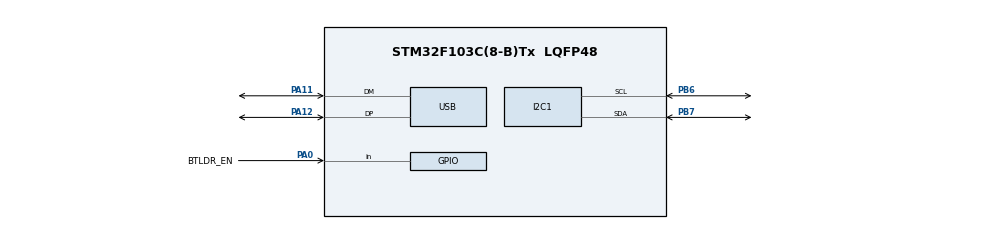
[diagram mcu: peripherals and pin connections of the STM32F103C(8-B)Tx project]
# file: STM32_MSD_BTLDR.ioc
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Mcu.Family=STM32F1
Mcu.Name=STM32F103C(8-B)Tx
Mcu.Package=LQFP48
NVIC.PriorityGroup=NVIC_PRIORITYGROUP_4
NVIC.USB_LP_CAN1_RX0_IRQn=true\:0\:0\:false\:false\:true\:false\:true
PA0-WKUP.GPIO_Label=BTLDR_EN
PA0-WKUP.GPIO_PuPd=GPIO_PULLUP
PA0-WKUP.Signal=GPIO_Input
PA11.Mode=Device
PA11.Signal=USB_DM
PA12.Mode=Device
PA12.Signal=USB_DP
PA13.Mode=Serial_Wire
PA13.Signal=SYS_JTMS-SWDIO
PA14.Mode=Serial_Wire
PA14.Signal=SYS_JTCK-SWCLK
PB6.Mode=I2C
PB6.Signal=I2C1_SCL
PB7.Mode=I2C
PB7.Signal=I2C1_SDA
ProjectManager.HeapSize=0x200
ProjectManager.StackSize=0x400
ProjectManager.TargetToolchain=MDK-ARM V5
RCC.AHBFreq_Value=48000000
RCC.APB1CLKDivider=RCC_HCLK_DIV2
RCC.APB1Freq_Value=24000000
RCC.APB1TimFreq_Value=48000000
RCC.APB2Freq_Value=48000000
RCC.APB2TimFreq_Value=48000000
RCC.HCLKFreq_Value=48000000
RCC.PLLMUL=RCC_PLL_MUL12
RCC.PLLSource=RCC_PLLSOURCE_HSI_DIV2
RCC.PLLSourceVirtual=RCC_PLLSOURCE_HSI_DIV2
RCC.SYSCLKFreq_VALUE=48000000
RCC.SYSCLKSource=RCC_SYSCLKSOURCE_PLLCLK
RCC.USBFreq_Value=48000000
USB_DEVICE.CLASS_NAME_FS=MSC
USB_DEVICE.VirtualMode=Msc
USB_DEVICE.VirtualModeFS=Msc_FS
VP_USB_DEVICE_VS_USB_DEVICE_MSC_FS.Mode=MSC_FS
board=custom

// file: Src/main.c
/* USER CODE BEGIN Header */
/**
  ******************************************************************************
  * @file           : main.c
  * @brief          : Main program body
  ******************************************************************************
  * @attention
  *
  * <h2><center>&copy; Copyright (c) 2020 STMicroelectronics.
  * All rights reserved.</center></h2>
  *
  * This software component is licensed by ST under Ultimate Liberty license
  * SLA0044, the "License"; You may not use this file except in compliance with
  * the License. You may obtain a copy of the License at:
  *                             www.st.com/SLA0044
  *
  ******************************************************************************
  */
/* USER CODE END Header */
#include "main.h"
#include "usb_device.h"

/* USER CODE BEGIN Includes */
#include <stdint.h>
#include <stdbool.h>
#include "btldr_config.h"
#include "crypt.h"
#include "ihex_parser.h"
#include "ssd1306.h"
/* USER CODE END Includes */

/* USER CODE BEGIN PM */
I2C_HandleTypeDef hi2c1;

/* USER CODE END PM */

I2C_HandleTypeDef hi2c1;

void SystemClock_Config(void);
static void MX_GPIO_Init(void);
static void MX_I2C1_Init(void);

/* USER CODE BEGIN 0 */
bool is_appcode_exist()
{
  uint32_t *mem = (uint32_t*)APP_ADDR;

  if ((mem[0] == 0x00000000 || mem[0] == 0xFFFFFFFF) && \
      (mem[1] == 0x00000000 || mem[1] == 0xFFFFFFFF) && \
      (mem[2] == 0x00000000 || mem[2] == 0xFFFFFFFF) && \
      (mem[3] == 0x00000000 || mem[3] == 0xFFFFFFFF))
  {
    return false;
  }
  else
  {
    return true;
  }
}

void jmp_to_appcode()
{
  /* Function pointer to the address of the user application. */
  uint32_t jump_addr = *((__IO uint32_t*)(APP_ADDR+4u));
  HAL_DeInit();
  /* Change the main stack pointer. */
  __set_MSP(*(__IO uint32_t*)APP_ADDR);
  SCB->VTOR = APP_ADDR;

  ((void (*) (void)) (jump_addr)) ();
}

bool is_button_down()
{
    return (!LL_GPIO_IsInputPinSet(BTLDR_EN_GPIO_Port, BTLDR_EN_Pin) );
}

extern PCD_HandleTypeDef hpcd_USB_FS;

void SystemReset(){
    LL_mDelay(500);
    HAL_PCD_Stop(&hpcd_USB_FS);
    LL_mDelay(1000);
    NVIC_SystemReset();
}

/* USER CODE END 0 */

int main(void)
{

  /* MCU Configuration--------------------------------------------------------*/

  /* Reset of all peripherals, Initializes the Flash interface and the Systick. */
  HAL_Init();

  /* Configure the system clock */
  SystemClock_Config();

  /* Initialize all configured peripherals */
  MX_GPIO_Init();
  MX_USB_DEVICE_Init();
  MX_I2C1_Init();
  /* USER CODE BEGIN 2 */
  SSD1306_Init();  // initialise

  /// lets print some string

    SSD1306_GotoXY (0,0);
    SSD1306_Puts ("HELLO", &Font_11x18, 1);
    SSD1306_GotoXY (10, 30);
    SSD1306_Puts ("  ZIN :)", &Font_11x18, 1);
    SSD1306_UpdateScreen(); //display

//  if(!is_appcode_exist() || is_button_down())
if(0)
  {
#if(CONFIG_SUPPORT_CRYPT_MODE > 0u)
    crypt_init();
#endif
    MX_USB_DEVICE_Init();
    while(1)
    {
#if (CONFIG_SOFT_RESET_AFTER_IHEX_EOF > 0u)
      if(ihex_is_eof()) {
         SystemReset();
      }
#endif
    }
  }
  else
  {
    jmp_to_appcode();
  }

  /* USER CODE END 2 */

  /* Infinite loop */
  while (1)
  {

  }
}

void SystemClock_Config(void)
{
  LL_FLASH_SetLatency(LL_FLASH_LATENCY_1);
  while(LL_FLASH_GetLatency()!= LL_FLASH_LATENCY_1)
  {
  }
  LL_RCC_HSI_SetCalibTrimming(16);
  LL_RCC_HSI_Enable();

   /* Wait till HSI is ready */
  while(LL_RCC_HSI_IsReady() != 1)
  {

  }
  LL_RCC_PLL_ConfigDomain_SYS(LL_RCC_PLLSOURCE_HSI_DIV_2, LL_RCC_PLL_MUL_12);
  LL_RCC_PLL_Enable();

   /* Wait till PLL is ready */
  while(LL_RCC_PLL_IsReady() != 1)
  {

  }
  LL_RCC_SetAHBPrescaler(LL_RCC_SYSCLK_DIV_1);
  LL_RCC_SetAPB1Prescaler(LL_RCC_APB1_DIV_2);
  LL_RCC_SetAPB2Prescaler(LL_RCC_APB2_DIV_1);
  LL_RCC_SetSysClkSource(LL_RCC_SYS_CLKSOURCE_PLL);

   /* Wait till System clock is ready */
  while(LL_RCC_GetSysClkSource() != LL_RCC_SYS_CLKSOURCE_STATUS_PLL)
  {

  }
  LL_SetSystemCoreClock(48000000);

   /* Update the time base */
  if (HAL_InitTick (TICK_INT_PRIORITY) != HAL_OK)
  {
    Error_Handler();
  }
  LL_RCC_SetUSBClockSource(LL_RCC_USB_CLKSOURCE_PLL);
}

static void MX_I2C1_Init(void)
{

  hi2c1.Instance = I2C1;
  hi2c1.Init.ClockSpeed = 400000;
  hi2c1.Init.DutyCycle = I2C_DUTYCYCLE_2;
  hi2c1.Init.OwnAddress1 = 0;
  hi2c1.Init.AddressingMode = I2C_ADDRESSINGMODE_7BIT;
  hi2c1.Init.DualAddressMode = I2C_DUALADDRESS_DISABLE;
  hi2c1.Init.OwnAddress2 = 0;
  hi2c1.Init.GeneralCallMode = I2C_GENERALCALL_DISABLE;
  hi2c1.Init.NoStretchMode = I2C_NOSTRETCH_DISABLE;
  if (HAL_I2C_Init(&hi2c1) != HAL_OK)
  {
    Error_Handler();
  }

}

static void MX_GPIO_Init(void)
{
  LL_GPIO_InitTypeDef GPIO_InitStruct = {0};

  /* GPIO Ports Clock Enable */
  LL_APB2_GRP1_EnableClock(LL_APB2_GRP1_PERIPH_GPIOA);
  LL_APB2_GRP1_EnableClock(LL_APB2_GRP1_PERIPH_GPIOB);

  /**/
  GPIO_InitStruct.Pin = BTLDR_EN_Pin;
  GPIO_InitStruct.Mode = LL_GPIO_MODE_INPUT;
  GPIO_InitStruct.Pull = LL_GPIO_PULL_UP;
  LL_GPIO_Init(BTLDR_EN_GPIO_Port, &GPIO_InitStruct);

}

void Error_Handler(void)
{
}

/************************ (C) COPYRIGHT STMicroelectronics *****END OF FILE****/
